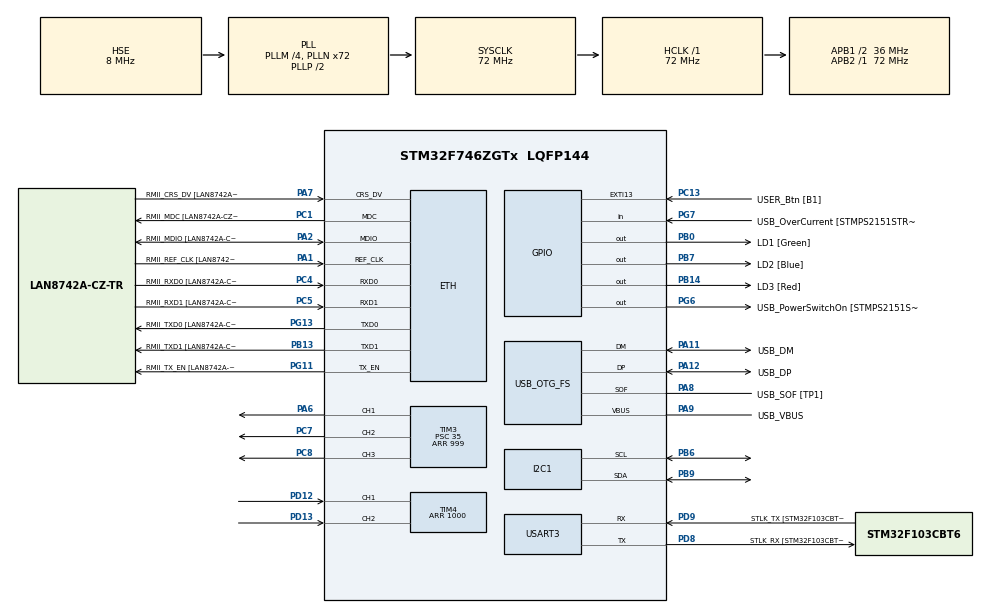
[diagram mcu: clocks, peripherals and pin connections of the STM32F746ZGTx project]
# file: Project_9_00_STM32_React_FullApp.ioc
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ETH.MediaInterface=ETH_MEDIA_INTERFACE_RMII
ETH.PHY_Name=LAN8742A_PHY_ADDRESS
ETH.PHY_Value=0
ETH.PhyAddress=0
I2C1.Timing=0x00808CD2
Mcu.Family=STM32F7
Mcu.Name=STM32F746ZGTx
Mcu.Package=LQFP144
NVIC.PriorityGroup=NVIC_PRIORITYGROUP_4
NVIC.USART3_IRQn=true\:0\:0\:false\:false\:true\:true\:true
PA1.GPIO_Label=RMII_REF_CLK [LAN8742A-CZ-TR_REFCLK0]
PA1.Mode=RMII
PA1.Signal=ETH_REF_CLK
PA10.GPIO_Label=USB_ID
PA10.Signal=USB_OTG_FS_ID
PA11.GPIO_Label=USB_DM
PA11.Mode=Device_Only
PA11.Signal=USB_OTG_FS_DM
PA12.GPIO_Label=USB_DP
PA12.Mode=Device_Only
PA12.Signal=USB_OTG_FS_DP
PA13.GPIO_Label=TMS
PA13.Mode=Serial_Wire
PA13.Signal=SYS_JTMS-SWDIO
PA14.GPIO_Label=TCK
PA14.Mode=Serial_Wire
PA14.Signal=SYS_JTCK-SWCLK
PA2.GPIO_Label=RMII_MDIO [LAN8742A-CZ-TR_MDIO]
PA2.Mode=RMII
PA2.Signal=ETH_MDIO
PA6.Signal=S_TIM3_CH1
PA7.GPIO_Label=RMII_CRS_DV [LAN8742A-CZ-TR_CRS_DV]
PA7.Mode=RMII
PA7.Signal=ETH_CRS_DV
PA8.GPIO_Label=USB_SOF [TP1]
PA8.Mode=Activate_SOF_FS
PA8.Signal=USB_OTG_FS_SOF
PA9.GPIO_Label=USB_VBUS
PA9.Mode=Activate_VBUS
PA9.Signal=USB_OTG_FS_VBUS
PB0.GPIO_Label=LD1 [Green]
PB0.Signal=GPIO_Output
PB13.GPIO_Label=RMII_TXD1 [LAN8742A-CZ-TR_TXD1]
PB13.Mode=RMII
PB13.Signal=ETH_TXD1
PB14.GPIO_Label=LD3 [Red]
PB14.Signal=GPIO_Output
PB3.GPIO_Label=SW0
PB3.Signal=SYS_JTDO-SWO
PB6.Mode=I2C
PB6.Signal=I2C1_SCL
PB7.GPIO_Label=LD2 [Blue]
PB7.Signal=GPIO_Output
PB9.Mode=I2C
PB9.Signal=I2C1_SDA
PC1.GPIO_Label=RMII_MDC [LAN8742A-CZ-TR_MDC]
PC1.Mode=RMII
PC1.Signal=ETH_MDC
PC13.GPIO_Label=USER_Btn [B1]
PC13.Signal=GPXTI13
PC14/OSC32_IN.Mode=LSE-External-Oscillator
PC14/OSC32_IN.Signal=RCC_OSC32_IN
PC15/OSC32_OUT.Mode=LSE-External-Oscillator
PC15/OSC32_OUT.Signal=RCC_OSC32_OUT
PC4.GPIO_Label=RMII_RXD0 [LAN8742A-CZ-TR_RXD0]
PC4.Mode=RMII
PC4.Signal=ETH_RXD0
PC5.GPIO_Label=RMII_RXD1 [LAN8742A-CZ-TR_RXD1]
PC5.Mode=RMII
PC5.Signal=ETH_RXD1
PC7.Signal=S_TIM3_CH2
PC8.Signal=S_TIM3_CH3
PD12.Signal=S_TIM4_CH1
PD13.Signal=S_TIM4_CH2
PD8.GPIO_Label=STLK_RX [STM32F103CBT6_PA3]
PD8.Mode=Asynchronous
PD8.Signal=USART3_TX
PD9.GPIO_Label=STLK_TX [STM32F103CBT6_PA2]
PD9.Mode=Asynchronous
PD9.Signal=USART3_RX
PG11.GPIO_Label=RMII_TX_EN [LAN8742A-CZ-TR_TXEN]
PG11.Mode=RMII
PG11.Signal=ETH_TX_EN
PG13.GPIO_Label=RMII_TXD0 [LAN8742A-CZ-TR_TXD0]
PG13.Mode=RMII
PG13.Signal=ETH_TXD0
PG6.GPIO_Label=USB_PowerSwitchOn [STMPS2151STR_EN]
PG6.Signal=GPIO_Output
PG7.GPIO_Label=USB_OverCurrent [STMPS2151STR_FAULT]
PG7.Signal=GPIO_Input
PH0/OSC_IN.GPIO_Label=MCO [STM32F103CBT6_PA8]
PH0/OSC_IN.Mode=HSE-External-Clock-Source
PH0/OSC_IN.Signal=RCC_OSC_IN
PH1/OSC_OUT.Mode=HSE-External-Clock-Source
PH1/OSC_OUT.Signal=RCC_OSC_OUT
ProjectManager.HeapSize=0x200
ProjectManager.StackSize=0x400
ProjectManager.TargetToolchain=STM32CubeIDE
RCC.48MHZClocksFreq_Value=24000000
RCC.AHBFreq_Value=72000000
RCC.APB1CLKDivider=RCC_HCLK_DIV2
RCC.APB1Freq_Value=36000000
RCC.APB1TimFreq_Value=72000000
RCC.APB2Freq_Value=72000000
RCC.APB2TimFreq_Value=72000000
RCC.CortexFreq_Value=72000000
RCC.HCLKFreq_Value=72000000
RCC.HSE_VALUE=8000000
RCC.HSI_VALUE=16000000
RCC.PLLM=4
RCC.PLLMUL=RCC_PLL_MUL9
RCC.PLLN=72
RCC.PLLQ=3
RCC.PRESCALERUSB=RCC_USBCLKSOURCE_PLL_DIV1_5
RCC.SYSCLKFreq_VALUE=72000000
RCC.SYSCLKSource=RCC_SYSCLKSOURCE_PLLCLK
RCC.SYSCLKSourceVirtual=RCC_SYSCLKSOURCE_PLLCLK
RCC.USBFreq_Value=48000000
RCC.VCOOutputFreq_Value=144000000
SH.S_TIM3_CH1.0=TIM3_CH1,PWM Generation1 CH1
SH.S_TIM3_CH2.0=TIM3_CH2,PWM Generation2 CH2
SH.S_TIM3_CH3.0=TIM3_CH3,PWM Generation3 CH3
SH.S_TIM4_CH1.0=TIM4_CH1,Encoder_Interface
SH.S_TIM4_CH2.0=TIM4_CH2,Encoder_Interface
TIM3.Channel-PWM\ Generation1\ CH1=TIM_CHANNEL_1
TIM3.Channel-PWM\ Generation2\ CH2=TIM_CHANNEL_2
TIM3.Channel-PWM\ Generation3\ CH3=TIM_CHANNEL_3
TIM3.Period=999
TIM3.Prescaler=35
TIM4.EncoderMode=TIM_ENCODERMODE_TI12
TIM4.IC1Polarity=TIM_ICPOLARITY_FALLING
TIM4.IC2Polarity=TIM_ICPOLARITY_FALLING
TIM4.Period=1000
USART3.VirtualMode-Asynchronous=VM_ASYNC
USB_OTG_FS.VirtualMode=Device_Only
VP_TIM3_VS_ClockSourceINT.Mode=Internal
board=NUCLEO-F746ZG

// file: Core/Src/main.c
/* USER CODE BEGIN Header */
/**
  ******************************************************************************
  * @file           : main.c
  * @brief          : Main program body
  ******************************************************************************
  * @attention
  *
  * <h2><center>&copy; Copyright (c) 2021 STMicroelectronics.
  * All rights reserved.</center></h2>
  *
  * This software component is licensed by ST under BSD 3-Clause license,
  * the "License"; You may not use this file except in compliance with the
  * License. You may obtain a copy of the License at:
  *                        opensource.org/licenses/BSD-3-Clause
  *
  ******************************************************************************
  */
/* USER CODE END Header */
#include "main.h"
#include "eth.h"
#include "i2c.h"
#include "tim.h"
#include "usart.h"
#include "usb_otg.h"
#include "gpio.h"

/* USER CODE BEGIN Includes */
#include "stdio.h"
#include "string.h"
#include "bh1750.h"
#include "bh1750_config.h"
/* USER CODE END Includes */

void SystemClock_Config(void);

/* USER CODE BEGIN 0 */

char json_data[26];

// RED -> controlled by Web App
int RED_percent = 0;

// BLUE -> controlled by Encoder
int BLUE_percent = 0;

// read from Web App
int luks_set = 50;

// read in a loop
int luks_read = 50;
int deviation = 0; // PL - "Uchyb"
int counter_en = 0;
int connected = 0;

// constant
float k = 1;

void transmit_IT_Json_Data(int percent, int lux );

void HAL_UART_RxCpltCallback(UART_HandleTypeDef *huart){
	if(huart-> Instance == USART3){
	  connected = 1;

	  //char json_data [26]="{\"lux\":1000,\"percent\":100}";

	  int percent [1];
	  int lux [1];
	  char * pch;

	  pch = strtok (json_data," \":,{}");

	   while (pch != NULL)
	  {
	    if(strcmp( pch, "percent" ) == 0){
	        pch = strtok (NULL, " \":,{}");
	        sscanf (pch,"%d",percent);
	    } else if(strcmp( pch, "lux" ) == 0){
	        pch = strtok (NULL, " \":,{}");
	        sscanf (pch,"%d",lux);
	    }
	    pch = strtok (NULL, " \":,{}");
	  }
	   lux[0] -= 1000;
	   percent[0] -= 100;

	   if(percent[0]<25){
			HAL_GPIO_WritePin(GPIOB, LD1_Pin, GPIO_PIN_RESET);
			HAL_GPIO_WritePin(GPIOB, LD2_Pin, GPIO_PIN_RESET);
			HAL_GPIO_WritePin(GPIOB, LD3_Pin, GPIO_PIN_RESET);
	   }else if((percent[0]>=25)&&(percent[0]<50)){
			HAL_GPIO_WritePin(GPIOB, LD1_Pin, GPIO_PIN_SET);
			HAL_GPIO_WritePin(GPIOB, LD2_Pin, GPIO_PIN_RESET);
			HAL_GPIO_WritePin(GPIOB, LD3_Pin, GPIO_PIN_RESET);
	   }else if((percent[0]>=50)&&(percent[0]<75)){
			HAL_GPIO_WritePin(GPIOB, LD1_Pin, GPIO_PIN_SET);
			HAL_GPIO_WritePin(GPIOB, LD2_Pin, GPIO_PIN_SET);
			HAL_GPIO_WritePin(GPIOB, LD3_Pin, GPIO_PIN_RESET);
	   }else if(percent[0]>=75){
			HAL_GPIO_WritePin(GPIOB, LD1_Pin, GPIO_PIN_SET);
			HAL_GPIO_WritePin(GPIOB, LD2_Pin, GPIO_PIN_SET);
			HAL_GPIO_WritePin(GPIOB, LD3_Pin, GPIO_PIN_SET);
	   }
	   luks_set = percent[0];
	   lux[0] = luks_read;

	   transmit_IT_Json_Data(percent[0], lux[0] );

	   HAL_UART_Receive_IT(&huart3, (uint8_t*)json_data, 26);

	}
}

void transmit_IT_Json_Data(int percent, int lux ){
	if((0 <= percent) && (percent <= 100) && (0 <= lux) && (lux <= 1000)){
		char new_Json_Data[26];

		int n=sprintf (new_Json_Data, "{\"lux\":%d,\"percent\":%d}", lux, percent);

		HAL_UART_Transmit_IT(&huart3, (uint8_t*)new_Json_Data, n);
	}
}

/* USER CODE END 0 */

int main(void)
{

  /* MCU Configuration--------------------------------------------------------*/

  /* Reset of all peripherals, Initializes the Flash interface and the Systick. */
  HAL_Init();

  /* Configure the system clock */
  SystemClock_Config();

  /* Initialize all configured peripherals */
  MX_GPIO_Init();
  MX_ETH_Init();
  MX_USART3_UART_Init();
  MX_USB_OTG_FS_PCD_Init();
  MX_I2C1_Init();
  MX_TIM3_Init();
  MX_TIM4_Init();
  /* USER CODE BEGIN 2 */

  HAL_TIM_PWM_Start(&htim3, TIM_CHANNEL_1);
  HAL_TIM_PWM_Start(&htim3, TIM_CHANNEL_2);
  HAL_TIM_Encoder_Start(&htim4, TIM_CHANNEL_ALL);

  // sensor initialization
  BH1750_Init(&hbh1750_1);

  HAL_UART_Receive_IT(&huart3, (uint8_t*)json_data, 26);
  __HAL_TIM_SET_COMPARE(&htim3, TIM_CHANNEL_1, RED_percent);

  char new_Json_Data[26];
  /* USER CODE END 2 */

  /* Infinite loop */
  /* USER CODE BEGIN WHILE */
  while (1)
  {
	luks_read = (int)(BH1750_ReadLux(&hbh1750_1));
	deviation = (luks_set - luks_read);
	RED_percent += (int)(k*deviation);

	if(RED_percent > 1000) RED_percent = 1000;
	if(RED_percent < 0)	RED_percent = 0;

	__HAL_TIM_SET_COMPARE(&htim3, TIM_CHANNEL_1, RED_percent);
	BLUE_percent = __HAL_TIM_GET_COUNTER(&htim4);
	__HAL_TIM_SET_COMPARE(&htim3, TIM_CHANNEL_2, BLUE_percent);

	if(connected == 1){
		int n=sprintf (new_Json_Data, "{\"lux\":%d,\"percent\":%d}", luks_read, luks_set);

		HAL_UART_Transmit(&huart3, (uint8_t*)new_Json_Data, n, 100);
	}

    /* USER CODE END WHILE */

    /* USER CODE BEGIN 3 */
	HAL_Delay(250);
  }
  /* USER CODE END 3 */
}

void SystemClock_Config(void)
{
  RCC_OscInitTypeDef RCC_OscInitStruct = {0};
  RCC_ClkInitTypeDef RCC_ClkInitStruct = {0};
  RCC_PeriphCLKInitTypeDef PeriphClkInitStruct = {0};

  /** Configure LSE Drive Capability
  */
  HAL_PWR_EnableBkUpAccess();
  /** Configure the main internal regulator output voltage
  */
  __HAL_RCC_PWR_CLK_ENABLE();
  __HAL_PWR_VOLTAGESCALING_CONFIG(PWR_REGULATOR_VOLTAGE_SCALE3);
  /** Initializes the RCC Oscillators according to the specified parameters
  * in the RCC_OscInitTypeDef structure.
  */
  RCC_OscInitStruct.OscillatorType = RCC_OSCILLATORTYPE_HSE;
  RCC_OscInitStruct.HSEState = RCC_HSE_BYPASS;
  RCC_OscInitStruct.PLL.PLLState = RCC_PLL_ON;
  RCC_OscInitStruct.PLL.PLLSource = RCC_PLLSOURCE_HSE;
  RCC_OscInitStruct.PLL.PLLM = 4;
  RCC_OscInitStruct.PLL.PLLN = 72;
  RCC_OscInitStruct.PLL.PLLP = RCC_PLLP_DIV2;
  RCC_OscInitStruct.PLL.PLLQ = 3;
  if (HAL_RCC_OscConfig(&RCC_OscInitStruct) != HAL_OK)
  {
    Error_Handler();
  }
  /** Initializes the CPU, AHB and APB buses clocks
  */
  RCC_ClkInitStruct.ClockType = RCC_CLOCKTYPE_HCLK|RCC_CLOCKTYPE_SYSCLK
                              |RCC_CLOCKTYPE_PCLK1|RCC_CLOCKTYPE_PCLK2;
  RCC_ClkInitStruct.SYSCLKSource = RCC_SYSCLKSOURCE_PLLCLK;
  RCC_ClkInitStruct.AHBCLKDivider = RCC_SYSCLK_DIV1;
  RCC_ClkInitStruct.APB1CLKDivider = RCC_HCLK_DIV2;
  RCC_ClkInitStruct.APB2CLKDivider = RCC_HCLK_DIV1;

  if (HAL_RCC_ClockConfig(&RCC_ClkInitStruct, FLASH_LATENCY_2) != HAL_OK)
  {
    Error_Handler();
  }
  PeriphClkInitStruct.PeriphClockSelection = RCC_PERIPHCLK_USART3|RCC_PERIPHCLK_I2C1
                              |RCC_PERIPHCLK_CLK48;
  PeriphClkInitStruct.Usart3ClockSelection = RCC_USART3CLKSOURCE_PCLK1;
  PeriphClkInitStruct.I2c1ClockSelection = RCC_I2C1CLKSOURCE_PCLK1;
  PeriphClkInitStruct.Clk48ClockSelection = RCC_CLK48SOURCE_PLL;
  if (HAL_RCCEx_PeriphCLKConfig(&PeriphClkInitStruct) != HAL_OK)
  {
    Error_Handler();
  }
}

void Error_Handler(void)
{
}

/************************ (C) COPYRIGHT STMicroelectronics *****END OF FILE****/
